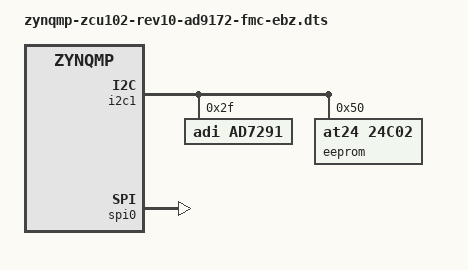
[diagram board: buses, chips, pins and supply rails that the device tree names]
// SPDX-License-Identifier: GPL-2.0
/*
 * dts file for AD9172-FMC-EBZ on Xilinx ZynqMP ZCU102 Rev 1.0
 *
 * Copyright (C) 2018-2019 Analog Devices Inc.
 */

#include "zynqmp-zcu102-rev1.0.dts"
#include <dt-bindings/interrupt-controller/irq.h>

&i2c1 {
	i2c-mux@75 {
		i2c@0 {
			#address-cells = <1>;
			#size-cells = <0>;
			reg = <0>;
			/* HPC0_IIC */
			ad7291@2f {
				compatible = "adi,ad7291";
				reg = <0x2f>;
			};

			eeprom@50 {
				compatible = "at24,24c02";
				reg = <0x50>;
			};

		};
	};
};

/ {
	fpga_axi: fpga-axi@0 {
		interrupt-parent = <&gic>;
		compatible = "simple-bus";
		#address-cells = <0x1>;
		#size-cells = <0x1>;
		ranges = <0 0 0 0xffffffff>;

		tx_dma: tx-dmac@9c420000 {
			#dma-cells = <1>;
			compatible = "adi,axi-dmac-1.00.a";
			reg = <0x9c420000 0x10000>;
			interrupts = <0 108 IRQ_TYPE_LEVEL_HIGH>;
			clocks = <&zynqmp_clk 71>;

			adi,channels {
				#size-cells = <0>;
				#address-cells = <1>;

				dma-channel@0 {
					reg = <0>;
					adi,source-bus-width = <128>;
					adi,source-bus-type = <0>;
					adi,destination-bus-width = <256>;
					adi,destination-bus-type = <1>;
					adi,cyclic;
				};
			};
		};

		axi_ad9172_core: axi-ad9172-hpc@84a04000 {
			compatible = "adi,axi-ad9172-1.0";
			reg = <0x84a04000 0x10000>;
			dmas = <&tx_dma 0>;
			dma-names = "tx";
			spibus-connected = <&dac0_ad9172>;
			adi,axi-pl-fifo-enable;
		};

		axi_ad9172_jesd: axi-jesd204-tx@84a90000 {
			compatible = "adi,axi-jesd204-tx-1.0";
			reg = <0x84a90000 0x4000>;

			interrupts = <0 106 IRQ_TYPE_LEVEL_HIGH>;

			clocks = <&zynqmp_clk 71>, <&axi_ad9172_adxcvr 1>, <&axi_ad9172_adxcvr 0>;
			clock-names = "s_axi_aclk", "device_clk", "lane_clk";

			adi,octets-per-frame = <1>;
			adi,frames-per-multiframe = <32>;
			adi,converter-resolution = <16>;
			adi,bits-per-sample = <16>;
			adi,converters-per-device = <2>;

			#clock-cells = <0>;
			clock-output-names = "jesd_dac_lane_clk";
		};

		axi_ad9172_adxcvr: axi-adxcvr-tx@84a60000 {
			compatible = "adi,axi-adxcvr-1.0";
			reg = <0x84a60000 0x1000>;

			clocks = <&hmc7044 12>;
			clock-names = "conv";

			adi,sys-clk-select = <3>;
			adi,out-clk-select = <3>;
			adi,use-lpm-enable;

			#clock-cells = <1>;
			clock-output-names = "dac_gt_clk", "tx_out_clk";
		};

		axi_sysid_0: axi-sysid-0@85000000 {
			compatible = "adi,axi-sysid-1.00.a";
			reg = <0x85000000 0x10000>;
		};
	};
};

&spi0 {
	status = "okay";
};

#define fmc_spi spi0

#include "adi-ad9172-fmc-ebz.dtsi"

&dac0_ad9172 {
	txen0-gpios = <&gpio 100 0>;
	txen1-gpios = <&gpio 101 0>;
};
